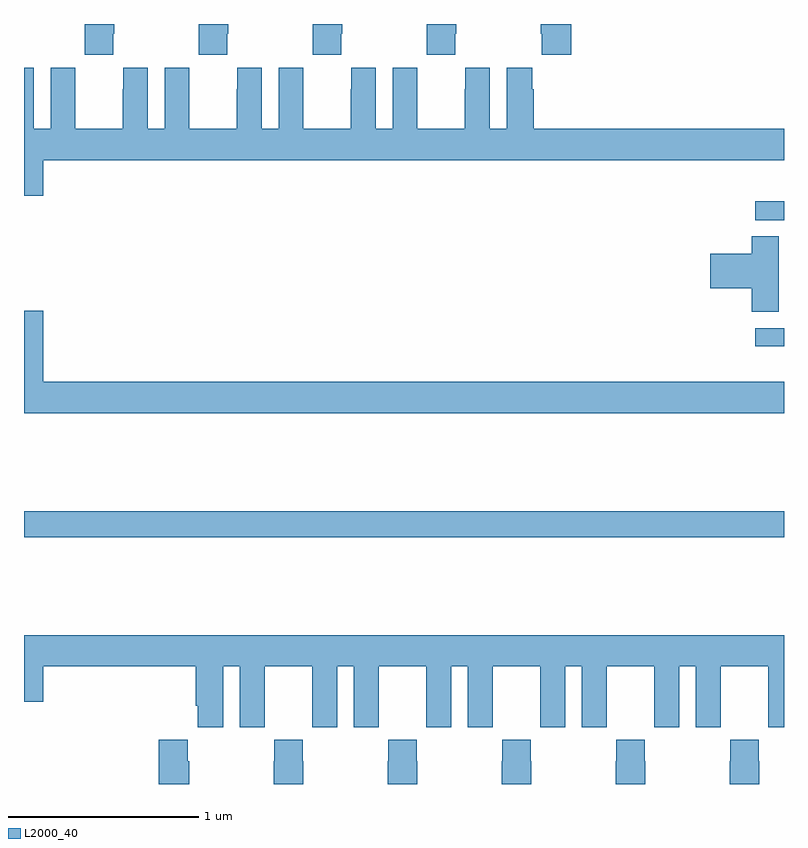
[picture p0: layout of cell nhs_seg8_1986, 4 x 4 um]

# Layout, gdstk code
import gdstk
lib = gdstk.Library(unit=1e-6, precision=1e-09)
def R(c, l, rs):  # rectangles x0, y0, x1, y1
    for r in rs: c.add(gdstk.rectangle(r[:2], r[2:], *l))
def P(c, l, *ps):  # polygons
    for p in ps: c.add(gdstk.Polygon(p, *l))
L2000_40 = (2000, 40)

nhs_seg8_1986 = lib.new_cell('nhs_seg8_1986')
R(nhs_seg8_1986, L2000_40, [(237,1097.2,241,1097.336), (240.849,1098.204,241,1098.3), (240.849,1098.867,241,1098.966)])
P(nhs_seg8_1986, L2000_40, [(239.119,1099.849),(239.121,1099.849),(239.121,1099.737),(239.271,1099.737),(239.271,1099.849),(239.274,1099.849),(239.274,1099.9),(239.119,1099.9)],
  [(239.879,1099.9),(239.719,1099.9),(239.719,1099.849),(239.725,1099.849),(239.725,1099.737),(239.879,1099.737)],
  [(238.671,1099.849),(238.674,1099.849),(238.674,1099.9),(238.519,1099.9),(238.519,1099.849),(238.521,1099.849),(238.521,1099.737),(238.671,1099.737)],
  [(238.071,1099.849),(238.074,1099.849),(238.074,1099.9),(237.919,1099.9),(237.919,1099.849),(237.921,1099.849),(237.921,1099.737),(238.071,1099.737)],
  [(237.471,1099.849),(237.474,1099.849),(237.474,1099.9),(237.319,1099.9),(237.319,1099.849),(237.321,1099.849),(237.321,1099.737),(237.471,1099.737)],
  [(241,1099.348),(239.684,1099.348),(239.684,1099.556),(239.674,1099.556),(239.674,1099.669),(239.54,1099.669),(239.54,1099.348),(239.452,1099.348),(239.452,1099.669),(239.322,1099.669),(239.322,1099.556),(239.321,1099.556),(239.321,1099.348),(239.071,1099.348),(239.071,1099.556),(239.07,1099.556),(239.07,1099.669),(238.94,1099.669),(238.94,1099.348),(238.852,1099.348),(238.852,1099.669),(238.722,1099.669),(238.722,1099.556),(238.721,1099.556),(238.721,1099.348),(238.471,1099.348),(238.471,1099.556),(238.47,1099.556),(238.47,1099.669),(238.34,1099.669),(238.34,1099.348),(238.252,1099.348),(238.252,1099.669),(238.122,1099.669),(238.122,1099.556),(238.121,1099.556),(238.121,1099.348),(237.871,1099.348),(237.871,1099.556),(237.87,1099.556),(237.87,1099.669),(237.74,1099.669),(237.74,1099.348),(237.652,1099.348),(237.652,1099.669),(237.522,1099.669),(237.522,1099.556),(237.521,1099.556),(237.521,1099.348),(237.271,1099.348),(237.271,1099.556),(237.27,1099.556),(237.27,1099.669),(237.14,1099.669),(237.14,1099.348),(237.052,1099.348),(237.052,1099.669),(237,1099.669),(237,1098.996),(237.1,1098.996),(237.1,1099.184),(241,1099.184)],
  [(240.973,1098.782),(240.83,1098.782),(240.83,1098.692),(240.612,1098.692),(240.612,1098.509),(240.83,1098.509),(240.83,1098.385),(240.973,1098.385)],
  [(241,1098.016),(237.1,1098.016),(237.1,1098.391),(237,1098.391),(237,1097.852),(241,1097.852)],
  [(238.048,1096.52),(238.136,1096.52),(238.136,1096.2),(238.266,1096.2),(238.266,1096.312),(238.267,1096.312),(238.267,1096.52),(238.517,1096.52),(238.517,1096.312),(238.518,1096.312),(238.518,1096.2),(238.648,1096.2),(238.648,1096.52),(238.736,1096.52),(238.736,1096.2),(238.866,1096.2),(238.866,1096.312),(238.867,1096.312),(238.867,1096.52),(239.117,1096.52),(239.117,1096.312),(239.118,1096.312),(239.118,1096.2),(239.248,1096.2),(239.248,1096.52),(239.336,1096.52),(239.336,1096.2),(239.466,1096.2),(239.466,1096.312),(239.467,1096.312),(239.467,1096.52),(239.717,1096.52),(239.717,1096.312),(239.718,1096.312),(239.718,1096.2),(239.848,1096.2),(239.848,1096.52),(239.936,1096.52),(239.936,1096.2),(240.066,1096.2),(240.066,1096.312),(240.067,1096.312),(240.067,1096.52),(240.317,1096.52),(240.317,1096.312),(240.318,1096.312),(240.318,1096.2),(240.448,1096.2),(240.448,1096.52),(240.536,1096.52),(240.536,1096.2),(240.666,1096.2),(240.666,1096.312),(240.667,1096.312),(240.667,1096.52),(240.917,1096.52),(240.917,1096.312),(240.918,1096.312),(240.918,1096.2),(241,1096.2),(241,1096.684),(237,1096.684),(237,1096.332),(237.1,1096.332),(237.1,1096.52),(237.905,1096.52),(237.905,1096.312),(237.914,1096.312),(237.914,1096.2),(238.048,1096.2)],
  [(238.47,1096.019),(238.467,1096.019),(238.467,1096.132),(238.317,1096.132),(238.317,1096.019),(238.315,1096.019),(238.315,1095.9),(238.47,1095.9)],
  [(237.87,1096.019),(237.863,1096.019),(237.863,1096.132),(237.71,1096.132),(237.71,1095.9),(237.87,1095.9)],
  [(240.87,1096.019),(240.867,1096.019),(240.867,1096.132),(240.717,1096.132),(240.717,1096.019),(240.715,1096.019),(240.715,1095.9),(240.87,1095.9)],
  [(240.27,1096.019),(240.267,1096.019),(240.267,1096.132),(240.117,1096.132),(240.117,1096.019),(240.115,1096.019),(240.115,1095.9),(240.27,1095.9)],
  [(239.67,1096.019),(239.667,1096.019),(239.667,1096.132),(239.517,1096.132),(239.517,1096.019),(239.515,1096.019),(239.515,1095.9),(239.67,1095.9)],
  [(239.07,1096.019),(239.067,1096.019),(239.067,1096.132),(238.917,1096.132),(238.917,1096.019),(238.915,1096.019),(238.915,1095.9),(239.07,1095.9)])

lib.write_gds('nhs_seg8_1986.gds')
